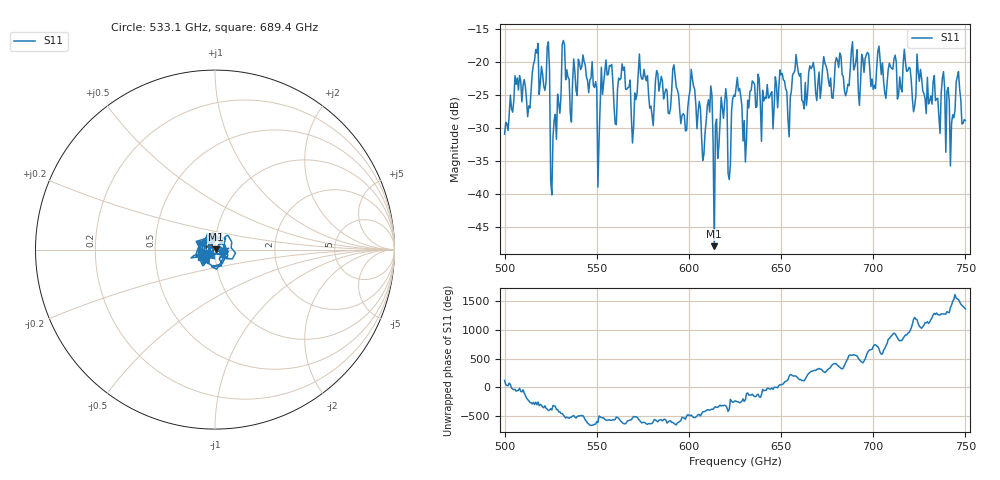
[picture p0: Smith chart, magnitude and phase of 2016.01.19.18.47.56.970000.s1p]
!Created with skrf (http://scikit-rf.org).
# GHz S RI R 50.0
!freq ReS11 ImS11
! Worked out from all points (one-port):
!   401 points, 500 GHz to 750 GHz, reference 50 ohm
!   lowest |S11| = -47.9 dB at 613.8 GHz (marker M1), VSWR 1.01, Z = 50.4 + j0.072 ohm
!   |S11| at or under -10 dB: start of sweep to end of sweep
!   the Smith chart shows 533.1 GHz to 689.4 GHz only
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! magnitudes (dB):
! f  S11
! 500 GHz  -30.9
! 513.1 GHz  -26.7
! 516.9 GHz  -18.2
! 523.1 GHz  -17.8
! 526.2 GHz  -31.4
! 531.2 GHz  -17.4
! 543.1 GHz  -20.0
! 550.6 GHz  -38.9
! 553.8 GHz  -23.2
! 562.5 GHz  -22.7
! 570 GHz  -29.8
! 574.4 GHz  -22.6
! 580 GHz  -28.1
! 593.8 GHz  -24.3
! 597.5 GHz  -28.1
! 601.9 GHz  -22.6
! 608.1 GHz  -34.1
! 611.2 GHz  -27.6
! 613.8 GHz  -47.9
! 618.8 GHz  -28.5
! 622.5 GHz  -35.5
! 625 GHz  -25.3
! 630 GHz  -28.9
! 634.4 GHz  -22.9
! 656.2 GHz  -22.0
! 687.5 GHz  -21.2
! 718.8 GHz  -21.4
! 750 GHz  -28.9
